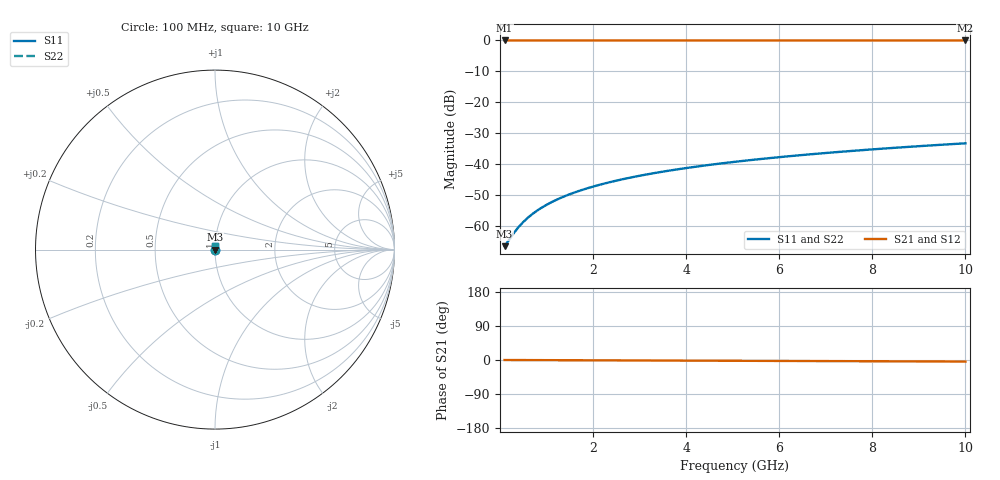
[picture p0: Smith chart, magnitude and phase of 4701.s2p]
# Hz S RI R 50.00
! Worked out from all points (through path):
!   100 points, 100 MHz to 10 GHz, reference 50 ohm
!   highest |S21| = 0.00 dB at 100 MHz (marker M1); lowest = 0.0 dB at 10 GHz (marker M2)
!   lowest |S11| = -66.5 dB at 100 MHz (marker M3), VSWR 1.00, Z = 50 + j0.0216 ohm
!   |S11| at or under -10 dB: start of sweep to end of sweep
!   |S22| runs from -66.5 to -33.2 dB; largest |S21 - S12| = 0
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1e8  0.000422 0.000216  0.9996 -0.000714  0.9996 -0.000714  0.000422 0.000216
3e8  0.000428 0.000648  0.9996 -0.00214  0.9996 -0.00214  0.000428 0.000648
4e8  0.00043 0.000864  0.9996 -0.00286  0.9996 -0.00286  0.00043 0.000864
5e8  0.000433 0.00108  0.9996 -0.00357  0.9996 -0.00357  0.000433 0.00108
6e8  0.000436 0.0013  0.9996 -0.00428  0.9996 -0.00428  0.000436 0.0013
7e8  0.000439 0.00151  0.9996 -0.005  0.9996 -0.005  0.000439 0.00151
8e8  0.000442 0.00173  0.9995 -0.00571  0.9995 -0.00571  0.000442 0.00173
1e9  0.000449 0.00216  0.9995 -0.00714  0.9995 -0.00714  0.000449 0.00216
1.2e9  0.000457 0.00259  0.9995 -0.00857  0.9995 -0.00857  0.000457 0.00259
1.5e9  0.000471 0.00324  0.9995 -0.0107  0.9995 -0.0107  0.000471 0.00324
1.8e9  0.000488 0.00389  0.9995 -0.0129  0.9995 -0.0129  0.000488 0.00389
2.1e9  0.000507 0.00454  0.9994 -0.015  0.9994 -0.015  0.000507 0.00454
2.5e9  0.000537 0.0054  0.9994 -0.0179  0.9994 -0.0179  0.000537 0.0054
2.9e9  0.000571 0.00626  0.9993 -0.0207  0.9993 -0.0207  0.000571 0.00626
3.4e9  0.000622 0.00734  0.9992 -0.0243  0.9992 -0.0243  0.000622 0.00734
4.2e9  0.000718 0.00907  0.999 -0.03  0.999 -0.03  0.000718 0.00907
5.1e9  0.00085 0.011  0.9988 -0.0365  0.9988 -0.0365  0.00085 0.011
5.9e9  0.000989 0.0127  0.9985 -0.0422  0.9985 -0.0422  0.000989 0.0127
6.7e9  0.00115 0.0145  0.9983 -0.048  0.9983 -0.048  0.00115 0.0145
7.5e9  0.00133 0.0162  0.9979 -0.0537  0.9979 -0.0537  0.00133 0.0162
8.4e9  0.00155 0.0182  0.9975 -0.0602  0.9975 -0.0602  0.00155 0.0182
1e10  0.00202 0.0217  0.9967 -0.0718  0.9967 -0.0718  0.00202 0.0217
